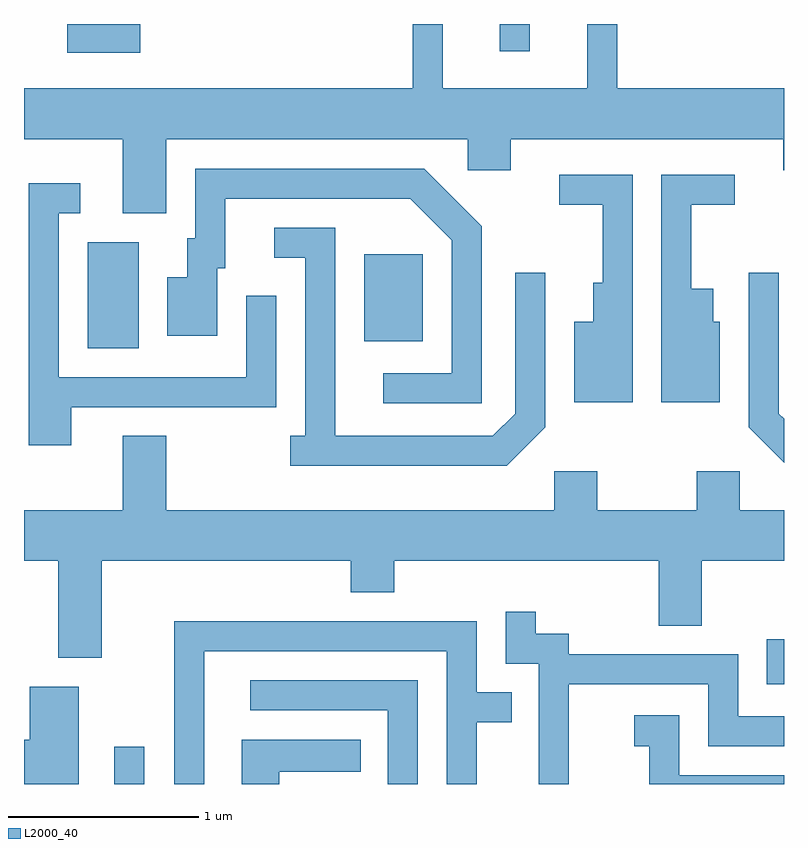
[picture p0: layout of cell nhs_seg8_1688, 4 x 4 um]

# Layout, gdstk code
import gdstk
lib = gdstk.Library(unit=1e-6, precision=1e-09)
def R(c, l, rs):  # rectangles x0, y0, x1, y1
    for r in rs: c.add(gdstk.rectangle(r[:2], r[2:], *l))
def P(c, l, *ps):  # polygons
    for p in ps: c.add(gdstk.Polygon(p, *l))
L2000_40 = (2000, 40)

nhs_seg8_1688 = lib.new_cell('nhs_seg8_1688')
R(nhs_seg8_1688, L2000_40, [(236.086,1846.342,236.244,1846.538), (239.521,1846.866,239.611,1847.103), (235.946,1848.636,236.214,1849.194), (237.401,1848.671,237.709,1849.129), (235.838,1850.191,236.224,1850.342), (238.116,1850.198,238.274,1850.342)])
P(nhs_seg8_1688, L2000_40, [(236.359,1849.736),(237.946,1849.736),(237.946,1849.571),(238.174,1849.571),(238.174,1849.736),(239.606,1849.736),(239.606,1849.571),(239.611,1849.571),(239.611,1850.004),(238.734,1850.004),(238.734,1850.342),(238.576,1850.342),(238.576,1850.004),(237.814,1850.004),(237.814,1850.342),(237.656,1850.342),(237.656,1850.004),(235.611,1850.004),(235.611,1849.736),(236.131,1849.736),(236.131,1849.346),(236.359,1849.346)],
  [(238.019,1849.277),(237.717,1849.579),(236.511,1849.579),(236.511,1849.214),(236.471,1849.214),(236.471,1849.009),(236.366,1849.009),(236.366,1848.701),(236.629,1848.701),(236.629,1849.056),(236.669,1849.056),(236.669,1849.421),(237.644,1849.421),(237.861,1849.204),(237.861,1848.504),(237.503,1848.504),(237.503,1848.346),(238.019,1848.346)],
  [(238.814,1849.549),(238.428,1849.549),(238.428,1849.391),(238.656,1849.391),(238.656,1848.979),(238.606,1848.979),(238.606,1848.774),(238.506,1848.774),(238.506,1848.351),(238.814,1848.351)],
  [(239.274,1848.774),(239.239,1848.774),(239.239,1848.949),(239.124,1848.949),(239.124,1849.391),(239.353,1849.391),(239.353,1849.549),(238.966,1849.549),(238.966,1848.351),(239.274,1848.351)],
  [(235.859,1848.326),(236.939,1848.326),(236.939,1848.913),(236.781,1848.913),(236.781,1848.484),(235.794,1848.484),(235.794,1849.346),(235.908,1849.346),(235.908,1849.504),(235.636,1849.504),(235.636,1848.126),(235.859,1848.126)],
  [(238.354,1848.219),(238.354,1849.033),(238.196,1849.033),(238.196,1848.292),(238.079,1848.174),(237.249,1848.174),(237.249,1849.269),(236.928,1849.269),(236.928,1849.111),(237.091,1849.111),(237.091,1848.174),(237.013,1848.174),(237.013,1848.016),(238.152,1848.016)],
  [(239.611,1848.265),(239.584,1848.292),(239.584,1849.033),(239.426,1849.033),(239.426,1848.219),(239.611,1848.034)],
  [(236.019,1847.516),(237.331,1847.516),(237.331,1847.351),(237.559,1847.351),(237.559,1847.516),(238.951,1847.516),(238.951,1847.176),(239.179,1847.176),(239.179,1847.516),(239.611,1847.516),(239.611,1847.784),(239.379,1847.784),(239.379,1847.989),(239.151,1847.989),(239.151,1847.784),(238.629,1847.784),(238.629,1847.989),(238.401,1847.989),(238.401,1847.784),(236.359,1847.784),(236.359,1848.174),(236.131,1848.174),(236.131,1847.784),(235.611,1847.784),(235.611,1847.516),(235.791,1847.516),(235.791,1847.006),(236.019,1847.006)],
  [(238.479,1846.866),(239.211,1846.866),(239.211,1846.541),(239.611,1846.541),(239.611,1846.699),(239.369,1846.699),(239.369,1847.024),(238.479,1847.024),(238.479,1847.134),(238.304,1847.134),(238.304,1847.248),(238.146,1847.248),(238.146,1846.976),(238.321,1846.976),(238.321,1846.342),(238.479,1846.342)],
  [(236.559,1847.041),(237.836,1847.041),(237.836,1846.342),(237.994,1846.342),(237.994,1846.666),(238.178,1846.666),(238.178,1846.824),(237.994,1846.824),(237.994,1847.199),(236.401,1847.199),(236.401,1846.342),(236.559,1846.342)],
  [(237.684,1846.889),(236.803,1846.889),(236.803,1846.731),(237.526,1846.731),(237.526,1846.342),(237.684,1846.342)],
  [(235.899,1846.854),(235.641,1846.854),(235.641,1846.574),(235.611,1846.574),(235.611,1846.342),(235.899,1846.342)],
  [(239.611,1846.389),(239.059,1846.389),(239.059,1846.704),(238.823,1846.704),(238.823,1846.541),(238.901,1846.541),(238.901,1846.342),(239.611,1846.342)],
  [(236.954,1846.406),(237.383,1846.406),(237.383,1846.574),(236.756,1846.574),(236.756,1846.342),(236.954,1846.342)])

lib.write_gds('nhs_seg8_1688.gds')
